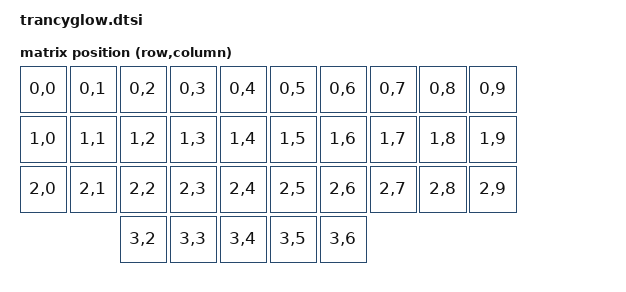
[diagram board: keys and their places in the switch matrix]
#include <dt-bindings/zmk/matrix_transform.h>
#include <input/processors.dtsi>
#include <dt-bindings/zmk/input_transform.h>
#include <zephyr/dt-bindings/input/input-event-codes.h>

/ {
    chosen {
        zmk,kscan = &kscan0;
        zmk,matrix_transform = &default_transform;
        zmk,underglow = &led_strip;
        zmk,battery = &vbatt;
    };

    vbatt: vbatt {
      compatible = "zmk,battery-nrf-vddh";
    };

    default_transform: keymap_transform_0 {
        compatible = "zmk,matrix-transform";
        columns = <10>;
        rows = <4>;
        map = <
          RC(0,0) RC(0,1) RC(0,2) RC(0,3) RC(0,4)     RC(0,5) RC(0,6) RC(0,7) RC(0,8) RC(0,9)
          RC(1,0) RC(1,1) RC(1,2) RC(1,3) RC(1,4)     RC(1,5) RC(1,6) RC(1,7) RC(1,8) RC(1,9)
          RC(2,0) RC(2,1) RC(2,2) RC(2,3) RC(2,4)     RC(2,5) RC(2,6) RC(2,7) RC(2,8) RC(2,9)
                          RC(3,2) RC(3,3) RC(3,4)     RC(3,5) RC(3,6)
			>;
    };

    kscan0: kscan {
        compatible = "zmk,kscan-gpio-matrix";
        label = "KSCAN";
        wakeup-source;

        diode-direction = "row2col";
    };   

    split_inputs {
        #address-cells = <1>;
        #size-cells = <0>;

        trackball_split: trackball_split@0 {
            compatible = "zmk,input-split";
            reg = <0>;
        };
    };

    trackball_listener: trackball_listener {
        compatible = "zmk,input-listener";
        status = "okay";
        device = <&trackball_split>;
    };
};
